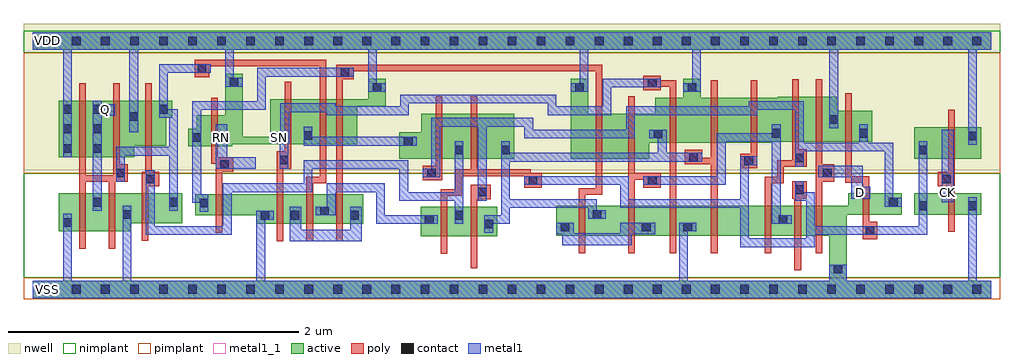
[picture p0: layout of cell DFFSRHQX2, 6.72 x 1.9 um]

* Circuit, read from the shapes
.subckt DFFSRHQX2 CK D Q RN SN VDD VSS
M1 Q n1 VSS VSS nfet w=0.26u l=0.045u m=2
M2 n1 n2 VSS VSS nfet w=0.205u l=0.045u
M3 VSS RN n3 VSS nfet w=0.145u l=0.045u
M4 n4 SN VSS VSS nfet w=0.205u l=0.045u
M5 n5 n1 n4 VSS nfet w=0.205u l=0.045u
M6 n4 n3 n5 VSS nfet w=0.205u l=0.045u
M7 n2 n6 n5 VSS nfet w=0.205u l=0.045u
M8 n7 n8 n2 VSS nfet w=0.205u l=0.045u
M9 n7 n3 n9 VSS nfet w=0.205u l=0.045u
M10 n9 n10 n7 VSS nfet w=0.205u l=0.045u
M11 VSS SN n9 VSS nfet w=0.205u l=0.045u
M12 n11 n7 VSS VSS nfet w=0.205u l=0.045u
M13 n10 n8 n11 VSS nfet w=0.205u l=0.045u
M14 n12 n6 n10 VSS nfet w=0.205u l=0.045u
M15 VSS D n12 VSS nfet w=0.205u l=0.045u
M16 n8 n6 VSS VSS nfet w=0.145u l=0.045u
M17 VSS CK n6 VSS nfet w=0.145u l=0.045u
M18 Q n1 VDD VDD pfet w=0.39u l=0.045u m=2
M19 n1 n2 VDD VDD pfet w=0.31u l=0.045u
M20 VDD RN n3 VDD pfet w=0.215u l=0.045u
M21 n13 SN VDD VDD pfet w=0.31u l=0.045u
M22 n14 n1 n13 VDD pfet w=0.31u l=0.045u
M23 VDD n3 n14 VDD pfet w=0.31u l=0.045u
M24 n2 n8 n13 VDD pfet w=0.31u l=0.045u
M25 n7 n6 n2 VDD pfet w=0.31u l=0.045u
M26 n15 n3 VDD VDD pfet w=0.31u l=0.045u
M27 n7 n10 n15 VDD pfet w=0.31u l=0.045u
M28 VDD SN n7 VDD pfet w=0.31u l=0.045u
M29 n16 n7 VDD VDD pfet w=0.31u l=0.045u
M30 n10 n6 n16 VDD pfet w=0.31u l=0.045u
M31 n17 n8 n10 VDD pfet w=0.31u l=0.045u
M32 VDD D n17 VDD pfet w=0.31u l=0.045u
M33 n8 n6 VDD VDD pfet w=0.215u l=0.045u
M34 VDD CK n6 VDD pfet w=0.215u l=0.045u
.ends

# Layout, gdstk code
import gdstk
lib = gdstk.Library(unit=1e-6, precision=5e-10)
def R(c, l, rs):  # rectangles x0, y0, x1, y1
    for r in rs: c.add(gdstk.rectangle(r[:2], r[2:], *l))
def A(c, l, x, y, w, h, nx, ny, dx, dy):  # array of equal rectangles
    R(c, l, [(x+i*dx, y+j*dy, x+i*dx+w, y+j*dy+h) for i in range(nx) for j in range(ny)])
def P(c, l, *ps):  # polygons
    for p in ps: c.add(gdstk.Polygon(p, *l))
active = (1, 0)
nwell = (2, 0)
poly = (3, 0)
nimplant = (4, 0)
pimplant = (5, 0)
contact = (6, 0)
metal1 = (7, 0)
metal1_1 = (7, 1)

dffsrhqx2 = lib.new_cell('DFFSRHQX2')
R(dffsrhqx2, active, [(2.67,0.365,3.2,0.57), (6.07,0.515,6.53,0.66), (6.07,0.9,6.53,1.115), (0,1.65,6.6,1.77)])
P(dffsrhqx2, active, [(0.18,1.3),(0.96,1.3),(0.96,1.18),(0.92,1.18),(0.92,0.99),(0.7,0.99),(0.7,0.91),(0.18,0.91)],
  [(1.325,1.485),(1.445,1.485),(1.445,1.05),(1.635,1.05),(1.635,1.31),(2.31,1.31),(2.31,1.45),(2.43,1.45),(2.43,1.26),(2.235,1.26),(2.235,1),(1.375,1),(1.375,0.985),(1.07,0.985),(1.07,1.105),(1.13,1.105),(1.13,1.2),(1.325,1.2)],
  [(3.705,1.45),(3.825,1.45),(3.825,1.21),(4.285,1.21),(4.285,1.32),(4.48,1.32),(4.48,1.45),(4.6,1.45),(4.6,1.32),(5.13,1.32),(5.13,1.325),(5.535,1.325),(5.535,1.23),(5.78,1.23),(5.78,1.015),(5.09,1.015),(5.09,1.01),(4.245,1.01),(4.245,0.9),(3.705,0.9)],
  [(2.675,1.21),(3.315,1.21),(3.315,0.9),(2.525,0.9),(2.525,1.08),(2.675,1.08)],
  [(0.18,0.66),(1.03,0.66),(1.03,0.455),(0.67,0.455),(0.67,0.4),(0.18,0.4)],
  [(1.12,0.655),(2.275,0.655),(2.275,0.45),(1.54,0.45),(1.54,0.51),(1.12,0.51)],
  [(5.615,0.66),(5.985,0.66),(5.985,0.515),(5.605,0.515),(5.605,0.06),(6.6,0.06),(6.6,-0.06),(0,-0.06),(0,0.06),(5.485,0.06),(5.485,0.37),(3.605,0.37),(3.605,0.575),(5.615,0.575)])
R(dffsrhqx2, nwell, [(-0.06,0.82,6.66,1.83)])
P(dffsrhqx2, poly, [(0.32,1.42),(0.365,1.42),(0.365,0.785),(0.555,0.785),(0.555,1.42),(0.6,1.42),(0.6,0.86),(0.655,0.86),(0.655,0.74),(0.57,0.74),(0.57,0.28),(0.525,0.28),(0.525,0.74),(0.365,0.74),(0.365,0.28),(0.32,0.28)],
  [(0.775,1.42),(0.82,1.42),(0.82,0.81),(0.87,0.81),(0.87,0.71),(0.795,0.71),(0.795,0.335),(0.75,0.335),(0.75,0.81),(0.775,0.81)],
  [(1.115,1.58),(2.02,1.58),(2.02,0.73),(1.93,0.73),(1.93,0.33),(1.885,0.33),(1.885,0.775),(1.975,0.775),(1.975,1.535),(1.215,1.535),(1.215,1.46),(1.115,1.46)],
  [(1.735,1.43),(1.78,1.43),(1.78,0.83),(1.725,0.83),(1.725,0.33),(1.68,0.33),(1.68,0.95),(1.735,0.95)],
  [(2.09,1.545),(3.92,1.545),(3.92,0.65),(3.805,0.65),(3.805,0.25),(3.76,0.25),(3.76,0.695),(3.875,0.695),(3.875,1.5),(2.21,1.5),(2.21,1.445),(2.135,1.445),(2.135,0.33),(2.09,0.33)],
  [(1.23,1.32),(1.275,1.32),(1.275,0.91),(1.38,0.91),(1.38,0.81),(1.305,0.81),(1.305,0.39),(1.26,0.39),(1.26,0.865),(1.23,0.865)],
  [(2.775,1.33),(2.82,1.33),(2.82,0.75),(2.685,0.75),(2.685,0.85),(2.775,0.85)],
  [(3.015,1.33),(3.06,1.33),(3.06,0.825),(3.43,0.825),(3.43,0.8),(3.505,0.8),(3.505,0.7),(3.385,0.7),(3.385,0.78),(2.955,0.78),(2.955,0.645),(2.855,0.645),(2.855,0.245),(2.81,0.245),(2.81,0.69),(2.91,0.69),(2.91,0.825),(3.015,0.825)],
  [(4.205,1.47),(4.325,1.47),(4.325,1.44),(4.43,1.44),(4.43,0.25),(4.385,0.25),(4.385,1.395),(4.325,1.395),(4.325,1.37),(4.205,1.37)],
  [(4.1,1.33),(4.145,1.33),(4.145,0.8),(4.325,0.8),(4.325,0.7),(4.205,0.7),(4.205,0.755),(4.145,0.755),(4.145,0.25),(4.1,0.25)],
  [(4.49,0.96),(4.61,0.96),(4.61,0.905),(4.67,0.905),(4.67,1.44),(4.715,1.44),(4.715,0.25),(4.67,0.25),(4.67,0.86),(4.49,0.86)],
  [(4.945,1.44),(4.99,1.44),(4.99,0.835),(4.87,0.835),(4.87,0.935),(4.945,0.935)],
  [(5.23,1.445),(5.275,1.445),(5.275,0.965),(5.33,0.965),(5.33,0.845),(5.17,0.845),(5.17,0.73),(5.085,0.73),(5.085,0.25),(5.04,0.25),(5.04,0.775),(5.125,0.775),(5.125,0.89),(5.23,0.89)],
  [(5.39,1.445),(5.435,1.445),(5.435,0.86),(5.52,0.86),(5.52,0.74),(5.435,0.74),(5.435,0.25),(5.39,0.25)],
  [(5.595,1.35),(5.64,1.35),(5.64,0.78),(5.76,0.78),(5.76,0.465),(5.815,0.465),(5.815,0.345),(5.715,0.345),(5.715,0.735),(5.595,0.735)],
  [(6.305,1.235),(6.35,1.235),(6.35,0.395),(6.305,0.395),(6.305,0.71),(6.23,0.71),(6.23,0.81),(6.305,0.81)],
  [(3.015,0.72),(3.155,0.72),(3.155,0.62),(3.06,0.62),(3.06,0.145),(3.015,0.145)],
  [(5.23,0.745),(5.33,0.745),(5.33,0.625),(5.29,0.625),(5.29,0.13),(5.245,0.13),(5.245,0.625),(5.23,0.625)])
R(dffsrhqx2, nimplant, [(-0.06,0.08,6.66,0.8), (-0.06,1.63,6.66,1.78)])
R(dffsrhqx2, pimplant, [(-0.06,-0.07,6.66,0.08), (-0.06,0.8,6.66,1.63)])
A(dffsrhqx2, contact, 0.07, -0.03, 0.06, 0.06, 33, 2, 0.2, 1.71)
A(dffsrhqx2, contact, 0.21, 0.94, 0.06, 0.06, 1, 3, 0, 0.135)
A(dffsrhqx2, contact, 0.415, 0.94, 0.06, 0.06, 1, 3, 0, 0.135)
R(dffsrhqx2, contact, [(5.515,0.11,5.575,0.17), (5.735,0.375,5.795,0.435), (3.635,0.4,3.695,0.46), (4.195,0.4,4.255,0.46), (4.48,0.4,4.54,0.46), (3.11,0.42,3.17,0.48), (0.21,0.43,0.27,0.49), (2.7,0.45,2.76,0.51), (5.135,0.45,5.195,0.51), (1.57,0.48,1.63,0.54), (1.775,0.48,1.835,0.54), (2.185,0.48,2.245,0.54), (2.905,0.48,2.965,0.54), (0.62,0.485,0.68,0.545), (3.855,0.485,3.915,0.545), (1.98,0.51,2.04,0.57), (6.1,0.545,6.16,0.605), (6.44,0.545,6.5,0.605), (1.15,0.565,1.21,0.625), (0.415,0.57,0.475,0.63), (0.94,0.57,1,0.63), (5.895,0.57,5.955,0.63), (3.065,0.64,3.125,0.7), (5.25,0.655,5.31,0.715), (3.415,0.72,3.475,0.78), (4.235,0.72,4.295,0.78), (0.78,0.73,0.84,0.79), (6.26,0.73,6.32,0.79), (0.575,0.77,0.635,0.83), (2.715,0.77,2.775,0.83), (5.44,0.77,5.5,0.83), (1.29,0.83,1.35,0.89), (4.9,0.855,4.96,0.915), (1.7,0.86,1.76,0.92), (5.25,0.875,5.31,0.935), (4.52,0.88,4.58,0.94), (2.905,0.93,2.965,0.99), (3.225,0.93,3.285,0.99), (6.1,0.93,6.16,0.99), (2.555,0.99,2.615,1.05), (1.1,1.015,1.16,1.075), (6.44,1.025,6.5,1.085), (1.865,1.03,1.925,1.09), (4.275,1.04,4.335,1.1), (5.09,1.045,5.15,1.105), (5.69,1.045,5.75,1.105), (5.485,1.14,5.545,1.2), (0.665,1.16,0.725,1.22), (0.87,1.21,0.93,1.27), (2.34,1.36,2.4,1.42), (3.735,1.36,3.795,1.42), (4.51,1.36,4.57,1.42), (4.235,1.39,4.295,1.45), (1.355,1.395,1.415,1.455), (2.12,1.465,2.18,1.525), (1.135,1.49,1.195,1.55)])
R(dffsrhqx2, metal1, [(6.26,0.6,6.34,1.1)])
P(dffsrhqx2, metal1, [(0,1.77),(6.6,1.77),(6.6,1.65),(6.5,1.65),(6.5,0.995),(6.44,0.995),(6.44,1.65),(5.545,1.65),(5.545,1.11),(5.485,1.11),(5.485,1.65),(4.6,1.65),(4.6,1.36),(4.48,1.36),(4.48,1.42),(4.54,1.42),(4.54,1.65),(3.825,1.65),(3.825,1.36),(3.705,1.36),(3.705,1.42),(3.765,1.42),(3.765,1.65),(2.37,1.65),(2.37,1.42),(2.43,1.42),(2.43,1.36),(2.31,1.36),(2.31,1.65),(1.385,1.65),(1.385,1.455),(1.445,1.455),(1.445,1.395),(1.325,1.395),(1.325,1.65),(0.725,1.65),(0.725,1.08),(0.665,1.08),(0.665,1.65),(0.27,1.65),(0.27,0.91),(0.21,0.91),(0.21,1.65),(0,1.65)],
  [(0.415,1.3),(0.475,1.3),(0.475,1.275),(0.565,1.275),(0.565,1.195),(0.475,1.195),(0.475,0.54),(0.415,0.54)],
  [(0.87,1.55),(1.225,1.55),(1.225,1.49),(0.93,1.49),(0.93,1.24),(1,1.24),(1,0.54),(0.94,0.54),(0.94,0.92),(0.635,0.92),(0.635,0.74),(0.575,0.74),(0.575,0.98),(0.94,0.98),(0.94,1.18),(0.87,1.18)],
  [(1.545,1.525),(2.21,1.525),(2.21,1.465),(1.605,1.465),(1.605,1.235),(1.16,1.235),(1.16,0.655),(1.21,0.655),(1.21,0.535),(1.15,0.535),(1.15,0.595),(1.1,0.595),(1.1,1.295),(1.545,1.295)],
  [(3.925,1.45),(4.325,1.45),(4.325,1.39),(3.985,1.39),(3.985,1.2),(3.545,1.2),(3.545,1.28),(2.59,1.28),(2.59,1.2),(2.025,1.2),(2.025,1.22),(1.765,1.22),(1.765,1.005),(1.76,1.005),(1.76,0.83),(1.7,0.83),(1.7,1.005),(1.635,1.005),(1.635,1.085),(1.705,1.085),(1.705,1.28),(2.085,1.28),(2.085,1.26),(2.53,1.26),(2.53,1.34),(3.605,1.34),(3.605,1.26),(3.925,1.26)],
  [(1.865,0.89),(2.585,0.89),(2.585,0.67),(2.905,0.67),(2.905,1.02),(2.965,1.02),(2.965,0.45),(2.905,0.45),(2.905,0.61),(2.525,0.61),(2.525,0.83),(1.925,0.83),(1.925,0.67),(1.37,0.67),(1.37,0.375),(0.78,0.375),(0.78,0.82),(0.84,0.82),(0.84,0.435),(1.31,0.435),(1.31,0.73),(1.865,0.73)],
  [(0.21,0.52),(0.27,0.52),(0.27,0.06),(0.62,0.06),(0.62,0.575),(0.68,0.575),(0.68,0.06),(1.54,0.06),(1.54,0.54),(1.66,0.54),(1.66,0.48),(1.6,0.48),(1.6,0.06),(4.45,0.06),(4.45,0.46),(4.57,0.46),(4.57,0.4),(4.51,0.4),(4.51,0.06),(5.485,0.06),(5.485,0.17),(5.605,0.17),(5.605,0.06),(6.44,0.06),(6.44,0.635),(6.5,0.635),(6.5,0.06),(6.6,0.06),(6.6,-0.06),(0,-0.06),(0,0.06),(0.21,0.06)],
  [(1.26,1.135),(1.34,1.135),(1.34,0.91),(1.535,0.91),(1.535,0.83),(1.26,0.83)],
  [(1.865,1.12),(1.925,1.12),(1.925,1.05),(2.645,1.05),(2.645,0.99),(1.865,0.99)],
  [(4.93,1.295),(5.31,1.295),(5.31,1.01),(5.69,1.01),(5.69,1.135),(5.75,1.135),(5.75,1.01),(5.925,1.01),(5.925,0.63),(5.985,0.63),(5.985,0.57),(5.865,0.57),(5.865,0.95),(5.31,0.95),(5.31,0.845),(5.25,0.845),(5.25,1.235),(4.99,1.235),(4.99,1.2),(4.145,1.2),(4.145,1.04),(3.385,1.04),(3.385,1.12),(3.125,1.12),(3.125,0.61),(3.065,0.61),(3.065,1.12),(2.805,1.12),(2.805,0.77),(2.685,0.77),(2.685,0.83),(2.745,0.83),(2.745,1.18),(3.445,1.18),(3.445,1.1),(4.085,1.1),(4.085,1.26),(4.93,1.26)],
  [(2.025,0.73),(2.425,0.73),(2.425,0.51),(2.79,0.51),(2.79,0.45),(2.365,0.45),(2.365,0.67),(2.085,0.67),(2.085,0.51),(1.95,0.51),(1.95,0.57),(2.025,0.57)],
  [(1.77,0.57),(1.85,0.57),(1.85,0.41),(2.185,0.41),(2.185,0.57),(2.265,0.57),(2.265,0.33),(1.77,0.33)],
  [(4.245,1.1),(4.365,1.1),(4.365,0.94),(4.61,0.94),(4.61,0.88),(3.285,0.88),(3.285,0.62),(3.885,0.62),(3.885,0.545),(3.945,0.545),(3.945,0.485),(3.825,0.485),(3.825,0.56),(3.285,0.56),(3.285,0.45),(3.17,0.45),(3.17,0.39),(3.11,0.39),(3.11,0.51),(3.225,0.51),(3.225,1.02),(3.285,1.02),(3.285,0.94),(4.305,0.94),(4.305,1.04),(4.245,1.04)],
  [(5.09,1.135),(5.15,1.135),(5.15,0.51),(5.225,0.51),(5.225,0.45),(5.09,0.45),(5.09,1.015),(4.77,1.015),(4.77,0.72),(4.205,0.72),(4.205,0.78),(4.71,0.78),(4.71,1.075),(5.09,1.075)],
  [(4.87,0.915),(4.99,0.915),(4.99,0.855),(4.93,0.855),(4.93,0.35),(5.325,0.35),(5.325,0.61),(5.25,0.61),(5.25,0.745),(5.31,0.745),(5.31,0.67),(5.385,0.67),(5.385,0.435),(6.1,0.435),(6.1,1.02),(6.16,1.02),(6.16,0.375),(5.385,0.375),(5.385,0.29),(4.87,0.29),(4.87,0.56),(4.045,0.56),(4.045,0.72),(3.385,0.72),(3.385,0.78),(4.105,0.78),(4.105,0.62),(4.87,0.62)],
  [(3.605,0.46),(3.725,0.46),(3.725,0.385),(4.045,0.385),(4.045,0.46),(4.285,0.46),(4.285,0.38),(4.125,0.38),(4.125,0.305),(3.645,0.305),(3.645,0.38),(3.605,0.38)],
  [(5.41,0.85),(5.715,0.85),(5.715,0.705),(5.765,0.705),(5.765,0.625),(5.635,0.625),(5.635,0.77),(5.41,0.77)])
R(dffsrhqx2, metal1_1, [(0.06,-0.04,0.14,0.04), (5.66,0.625,5.74,0.705), (6.26,0.625,6.34,0.705), (1.26,1.005,1.34,1.085), (1.66,1.005,1.74,1.085), (0.46,1.195,0.54,1.275), (0.06,1.67,0.14,1.75)])
dffsrhqx2.add(gdstk.Label('Q', (0.5,1.235), layer=7, texttype=1))
dffsrhqx2.add(gdstk.Label('CK', (6.3,0.665), layer=7, texttype=1))
dffsrhqx2.add(gdstk.Label('D', (5.7,0.665), layer=7, texttype=1))
dffsrhqx2.add(gdstk.Label('SN', (1.7,1.045), layer=7, texttype=1))
dffsrhqx2.add(gdstk.Label('RN', (1.3,1.045), layer=7, texttype=1))
dffsrhqx2.add(gdstk.Label('VDD', (0.1,1.71), layer=7, texttype=1))
dffsrhqx2.add(gdstk.Label('VSS', (0.1,0), layer=7, texttype=1))
dffsrhqx2.add(gdstk.Label('DFFSRHQX2', (0,0), layer=63, texttype=0))

lib.write_gds('DFFSRHQX2.gds')
